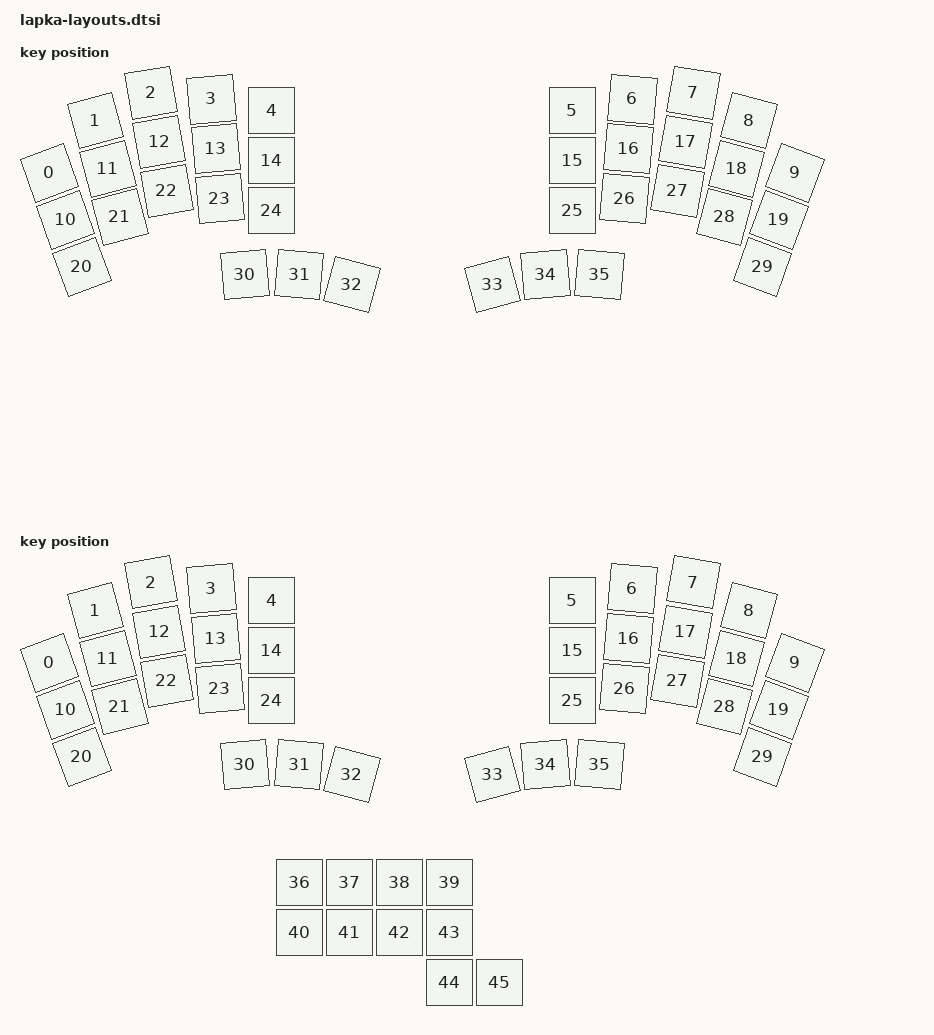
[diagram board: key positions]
#include <physical_layouts.dtsi>

/ {
    lapka_layout: lapka_layout {
        compatible = "zmk,physical-layout";
        display-name = "Lapka Layout";
        transform = <&lapka_transform>;

        keys  //                     w   h    x    y     rot    rx    ry
            = <&key_physical_attrs 100 100    0  161 (-2000)    50   211>
            , <&key_physical_attrs 100 100   92   56 (-1500)   142   106>
            , <&key_physical_attrs 100 100  203    0 (-1000)   253    50>
            , <&key_physical_attrs 100 100  324   13  (-500)   374    63>
            , <&key_physical_attrs 100 100  445   36       0     0     0>
            , <&key_physical_attrs 100 100 1046   36       0     0     0>
            , <&key_physical_attrs 100 100 1166   13     500  1216    63>
            , <&key_physical_attrs 100 100 1288    0    1000  1338    50>
            , <&key_physical_attrs 100 100 1399   56    1500  1449   106>
            , <&key_physical_attrs 100 100 1491  161    2000  1541   211>
            , <&key_physical_attrs 100 100   32  255 (-2000)    82   305>
            , <&key_physical_attrs 100 100  117  153 (-1500)   167   203>
            , <&key_physical_attrs 100 100  219   99 (-1000)   269   148>
            , <&key_physical_attrs 100 100  333  112  (-500)   383   162>
            , <&key_physical_attrs 100 100  445  136       0     0     0>
            , <&key_physical_attrs 100 100 1046  136       0     0     0>
            , <&key_physical_attrs 100 100 1158  112     500  1208   162>
            , <&key_physical_attrs 100 100 1272   99    1000  1322   148>
            , <&key_physical_attrs 100 100 1374  153    1500  1424   203>
            , <&key_physical_attrs 100 100 1459  255    2000  1509   305>
            , <&key_physical_attrs 100 100   65  349 (-2000)   115   399>
            , <&key_physical_attrs 100 100  141  249 (-1500)   191   299>
            , <&key_physical_attrs 100 100  235  197 (-1000)   285   247>
            , <&key_physical_attrs 100 100  341  212  (-500)   391   262>
            , <&key_physical_attrs 100 100  445  236       0     0     0>
            , <&key_physical_attrs 100 100 1046  236       0     0     0>
            , <&key_physical_attrs 100 100 1150  212     500  1200   262>
            , <&key_physical_attrs 100 100 1256  197    1000  1306   247>
            , <&key_physical_attrs 100 100 1350  249    1500  1400   299>
            , <&key_physical_attrs 100 100 1426  349    2000  1476   399>
            , <&key_physical_attrs 100 100  391  364  (-500)   441   415>
            , <&key_physical_attrs 100 100  499  364     500   549   415>
            , <&key_physical_attrs 100 100  605  384    1500   655   434>
            , <&key_physical_attrs 100 100  886  384 (-1500)   936   434>
            , <&key_physical_attrs 100 100  992  364  (-500)  1042   415>
            , <&key_physical_attrs 100 100 1100  364     500  1150   415>
            ;
    };

    lapka_pncateho_layout: lapka_pncateho_layout {
        compatible = "zmk,physical-layout";
        display-name = "Lapka+PNCATEHO Layout";
        transform = <&lapka_pncateho_transform>;

        keys  //                     w   h    x    y     rot    rx    ry
            = <&key_physical_attrs 100 100    0  161 (-2000)    50   211>
            , <&key_physical_attrs 100 100   92   56 (-1500)   142   106>
            , <&key_physical_attrs 100 100  203    0 (-1000)   253    50>
            , <&key_physical_attrs 100 100  324   13  (-500)   374    63>
            , <&key_physical_attrs 100 100  445   36       0     0     0>
            , <&key_physical_attrs 100 100 1046   36       0     0     0>
            , <&key_physical_attrs 100 100 1166   13     500  1216    63>
            , <&key_physical_attrs 100 100 1288    0    1000  1338    50>
            , <&key_physical_attrs 100 100 1399   56    1500  1449   106>
            , <&key_physical_attrs 100 100 1491  161    2000  1541   211>
            , <&key_physical_attrs 100 100   32  255 (-2000)    82   305>
            , <&key_physical_attrs 100 100  117  153 (-1500)   167   203>
            , <&key_physical_attrs 100 100  219   99 (-1000)   269   148>
            , <&key_physical_attrs 100 100  333  112  (-500)   383   162>
            , <&key_physical_attrs 100 100  445  136       0     0     0>
            , <&key_physical_attrs 100 100 1046  136       0     0     0>
            , <&key_physical_attrs 100 100 1158  112     500  1208   162>
            , <&key_physical_attrs 100 100 1272   99    1000  1322   148>
            , <&key_physical_attrs 100 100 1374  153    1500  1424   203>
            , <&key_physical_attrs 100 100 1459  255    2000  1509   305>
            , <&key_physical_attrs 100 100   65  349 (-2000)   115   399>
            , <&key_physical_attrs 100 100  141  249 (-1500)   191   299>
            , <&key_physical_attrs 100 100  235  197 (-1000)   285   247>
            , <&key_physical_attrs 100 100  341  212  (-500)   391   262>
            , <&key_physical_attrs 100 100  445  236       0     0     0>
            , <&key_physical_attrs 100 100 1046  236       0     0     0>
            , <&key_physical_attrs 100 100 1150  212     500  1200   262>
            , <&key_physical_attrs 100 100 1256  197    1000  1306   247>
            , <&key_physical_attrs 100 100 1350  249    1500  1400   299>
            , <&key_physical_attrs 100 100 1426  349    2000  1476   399>
            , <&key_physical_attrs 100 100  391  364  (-500)   441   415>
            , <&key_physical_attrs 100 100  499  364     500   549   415>
            , <&key_physical_attrs 100 100  605  384    1500   655   434>
            , <&key_physical_attrs 100 100  886  384 (-1500)   936   434>
            , <&key_physical_attrs 100 100  992  364  (-500)  1042   415>
            , <&key_physical_attrs 100 100 1100  364     500  1150   415>


            , <&key_physical_attrs 100 100  500  600       0     0     0>
            , <&key_physical_attrs 100 100  600  600       0     0     0>
            , <&key_physical_attrs 100 100  700  600       0     0     0>
            , <&key_physical_attrs 100 100  800  600       0     0     0>
            , <&key_physical_attrs 100 100  500  700       0     0     0>
            , <&key_physical_attrs 100 100  600  700       0     0     0>
            , <&key_physical_attrs 100 100  700  700       0     0     0>
            , <&key_physical_attrs 100 100  800  700       0     0     0>
            , <&key_physical_attrs 100 100  800  800       0     0     0>
            , <&key_physical_attrs 100 100  900  800       0     0     0>
            ;
    };

    lapka_position_map {
        compatible = "zmk,physical-layout-position-map";
        complete;

        lapka: lapka {
            physical-layout = <&lapka_layout>;
            positions
                = < 0  1  2  3  4       5  6  7  8  9>
                , <10 11 12 13 14      15 16 17 18 19>
                , <20 21 22 23 24      25 26 27 28 29>
                , <      30 31 32      33 34 35      >

                , < 36 37 38 39 >
                , < 40 41 42 43 >
                , <          44 45 >
                ;
        };

        lapka_pncateho: lapka_pncateho {
            physical-layout = <&lapka_pncateho_layout>;
            positions
                = < 0  1  2  3  4       5  6  7  8  9>
                , <10 11 12 13 14      15 16 17 18 19>
                , <20 21 22 23 24      25 26 27 28 29>
                , <      30 31 32      33 34 35      >

                , < 36 37 38 39 >
                , < 40 41 42 43 >
                , <          44 45 >
                ;
        };
    };
};
